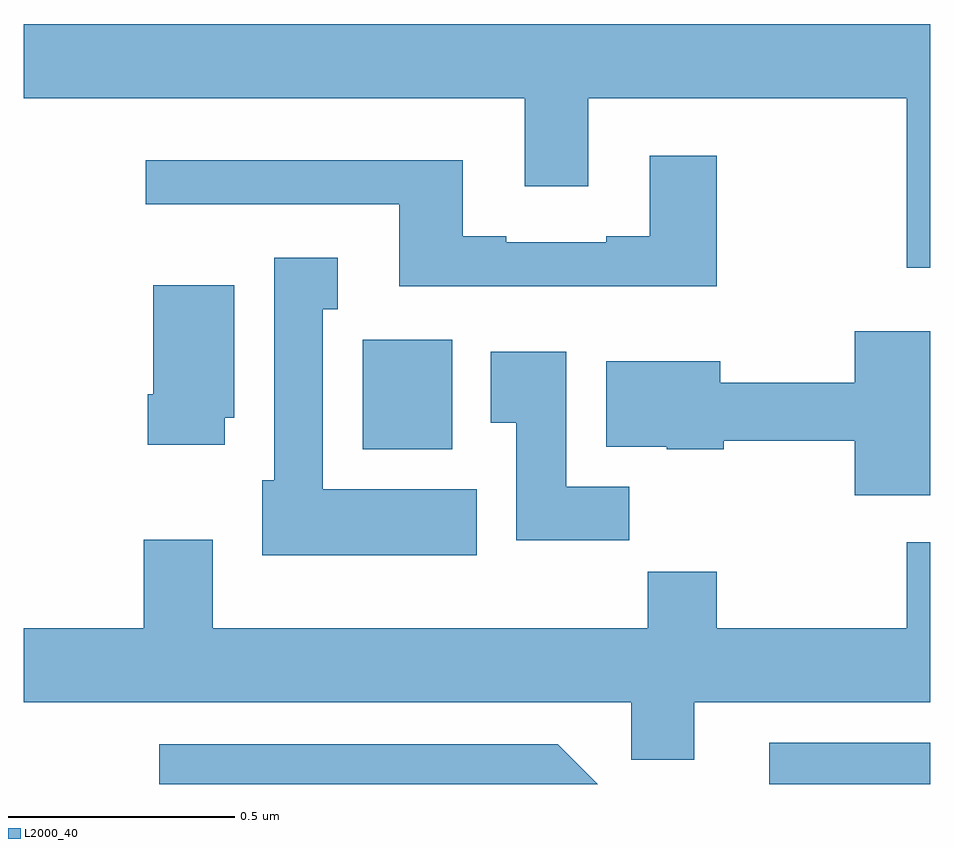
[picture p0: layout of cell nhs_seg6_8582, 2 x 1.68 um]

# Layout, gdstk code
import gdstk
lib = gdstk.Library(unit=1e-6, precision=1e-09)
def R(c, l, rs):  # rectangles x0, y0, x1, y1
    for r in rs: c.add(gdstk.rectangle(r[:2], r[2:], *l))
def P(c, l, *ps):  # polygons
    for p in ps: c.add(gdstk.Polygon(p, *l))
L2000_40 = (2000, 40)

nhs_seg6_8582 = lib.new_cell('nhs_seg6_8582')
R(nhs_seg6_8582, L2000_40, [(224.645,936.5,225,936.591), (223.748,937.238,223.945,937.48)])
P(nhs_seg6_8582, L2000_40, [(225,938.176),(223,938.176),(223,938.012),(224.105,938.012),(224.105,937.818),(224.245,937.818),(224.245,938.012),(224.948,938.012),(224.948,937.638),(225,937.638)],
  [(224.529,937.885),(224.381,937.885),(224.381,937.708),(224.285,937.708),(224.285,937.695),(224.065,937.695),(224.065,937.708),(223.969,937.708),(223.969,937.876),(223.269,937.876),(223.269,937.779),(223.829,937.779),(223.829,937.598),(224.529,937.598)],
  [(223.999,937.15),(223.66,937.15),(223.66,937.547),(223.693,937.547),(223.693,937.66),(223.553,937.66),(223.553,937.17),(223.526,937.17),(223.526,937.004),(223.999,937.004)],
  [(223.444,937.308),(223.465,937.308),(223.465,937.6),(223.286,937.6),(223.286,937.36),(223.274,937.36),(223.274,937.248),(223.444,937.248)],
  [(225,937.498),(224.833,937.498),(224.833,937.385),(224.536,937.385),(224.536,937.432),(224.285,937.432),(224.285,937.244),(224.418,937.244),(224.418,937.238),(224.544,937.238),(224.544,937.257),(224.833,937.257),(224.833,937.137),(225,937.137)],
  [(224.336,937.156),(224.197,937.156),(224.197,937.453),(224.03,937.453),(224.03,937.297),(224.087,937.297),(224.087,937.038),(224.336,937.038)],
  [(224.479,936.68),(225,936.68),(225,937.033),(224.948,937.033),(224.948,936.844),(224.529,936.844),(224.529,936.968),(224.377,936.968),(224.377,936.844),(223.417,936.844),(223.417,937.039),(223.265,937.039),(223.265,936.844),(223,936.844),(223,936.68),(224.34,936.68),(224.34,936.553),(224.479,936.553)],
  [(224.178,936.588),(223.299,936.588),(223.299,936.5),(224.266,936.5)])

lib.write_gds('nhs_seg6_8582.gds')
